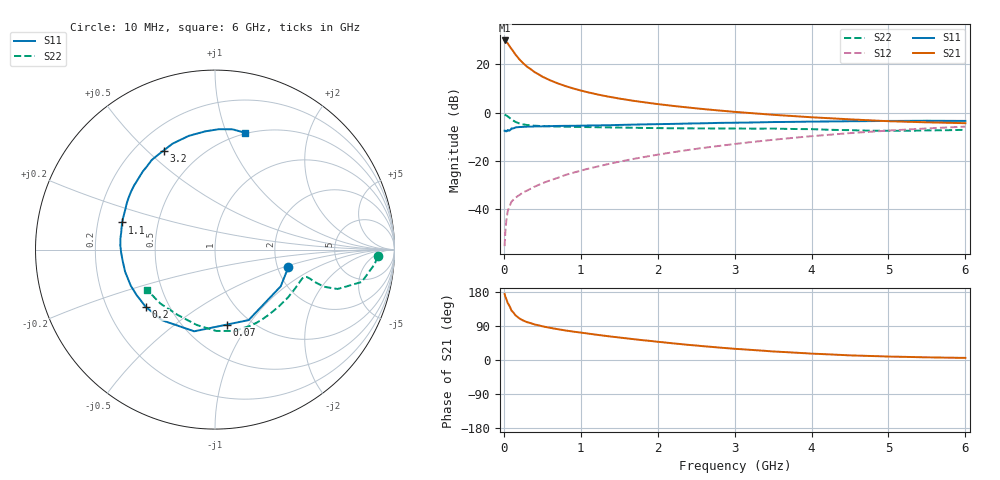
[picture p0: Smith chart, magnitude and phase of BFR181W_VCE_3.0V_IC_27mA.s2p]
! Infineon Technologies  Discrete & RF Semiconductors
! BFR181W
! VCE =  3.0 V,  IC =  27 mA
! Common Emitter S-Parameters:  Jan 2017
# GHz  S  MA  R  50
!  f  S11  S21  S12  S22
! GHz  MAG  ANG  MAG  ANG  MAG  ANG  MAG  ANG
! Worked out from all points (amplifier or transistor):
!   77 points, 10 MHz to 6 GHz, reference 50 ohm
!   highest |S21| = 29.9 dB at 10 MHz (marker M1)
!   |S21| within 3 dB of that: start of sweep to 87.96 MHz
!   unconditionally stable (mu >= 1): start of sweep to 14.73 MHz; 280.1 MHz to 2.747 GHz; 5.916 GHz to end of sweep
!   at 130 MHz: K = 0.65, MSG = 30.5 dB, |S12| = -35.9 dB
!   at 2.2 GHz: K = 1.11, MAG = 7.6 dB, |S12| = -16.5 dB
!   at 6 GHz: K = 1.00, MAG = 0.3 dB, |S12| = -5.8 dB
!   S11 on the Smith chart (normalised r, x): 10 MHz: 2.29, -0.55; 70 MHz: 0.78, -0.80; 200 MHz: 0.37, -0.32; 1.1 GHz: 0.31, +0.13; 3.2 GHz: 0.31, +0.56; 6 GHz: 0.49, +1.17
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0.01  0.42 -13.6  31.23 174.2  0.0017 85.7  0.9065 -2.4
0.02  0.4194 -29.2  30.57 167.2  0.0034 78.6  0.8935 -5.2
0.05  0.4352 -64.5  27.29 150.4  0.0089 69.4  0.8362 -12.5
0.07  0.423 -81.0  24.37 143.6  0.011 64.1  0.7879 -14.4
0.1  0.4698 -104.3  20.84 130.2  0.0142 59.2  0.7175 -17.8
0.12  0.4697 -113.6  18.83 126.1  0.0154 58.2  0.6871 -18.2
0.15  0.492 -126.9  16.06 118.2  0.0172 56.9  0.6415 -18.8
0.2  0.5006 -140.4  12.78 110.0  0.0194 56.8  0.596 -18.2
0.25  0.5049 -149.8  10.59 104.3  0.0222 59.7  0.5704 -17.6
0.3  0.5107 -157.0  8.978 100.0  0.024 60.4  0.5526 -17.0
0.4  0.5157 -166.1  6.895 93.7  0.0291 63.5  0.5339 -16.6
0.5  0.5184 -173.1  5.565 88.9  0.0342 67.0  0.5237 -16.9
0.7  0.528 177.5  4.028 81.4  0.0443 72.8  0.5122 -18.3
0.9  0.5311 169.9  3.163 75.0  0.0565 75.3  0.5055 -20.9
1.1  0.5389 163.7  2.616 69.6  0.0689 77.5  0.4996 -23.8
1.5  0.5536 153.1  1.951 59.4  0.0957 79.0  0.4884 -30.8
2.1  0.5785 139.1  1.436 46.1  0.1421 78.1  0.4741 -43.7
3.1  0.6185 119.3  1.006 28.3  0.2327 71.6  0.4657 -67.5
3.2  0.6218 117.4  0.978 26.9  0.2426 70.7  0.4646 -69.8
4.1  0.6514 101.3  0.783 16.0  0.3336 61.4  0.4469 -91.9
5.1  0.6717 86.9  0.655 8.7  0.432 49.1  0.4183 -122.7
6  0.672 75.6  0.602 5.5  0.5117 37.6  0.4392 -148.9
